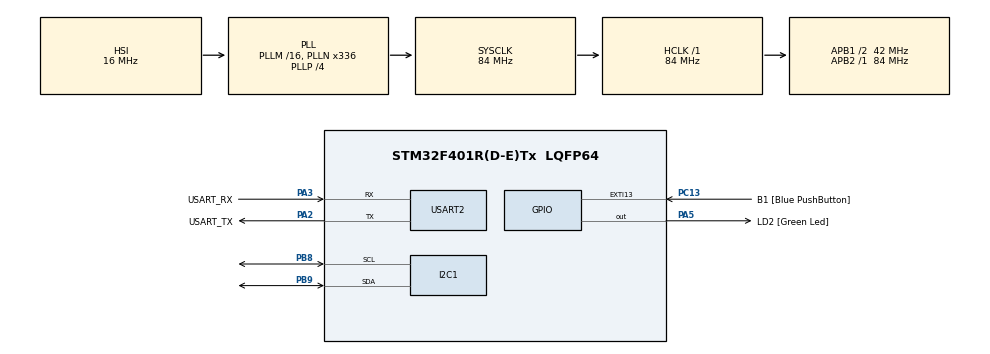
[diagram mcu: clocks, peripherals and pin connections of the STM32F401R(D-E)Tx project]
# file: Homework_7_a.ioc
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Dma.I2C1_RX.1.Direction=DMA_PERIPH_TO_MEMORY
Dma.I2C1_RX.1.FIFOMode=DMA_FIFOMODE_DISABLE
Dma.I2C1_RX.1.Instance=DMA1_Stream0
Dma.I2C1_RX.1.MemDataAlignment=DMA_MDATAALIGN_BYTE
Dma.I2C1_RX.1.MemInc=DMA_MINC_ENABLE
Dma.I2C1_RX.1.Mode=DMA_NORMAL
Dma.I2C1_RX.1.PeriphDataAlignment=DMA_PDATAALIGN_BYTE
Dma.I2C1_RX.1.PeriphInc=DMA_PINC_DISABLE
Dma.I2C1_RX.1.Priority=DMA_PRIORITY_LOW
Dma.Request0=USART2_TX
Dma.Request1=I2C1_RX
Dma.USART2_TX.0.Direction=DMA_MEMORY_TO_PERIPH
Dma.USART2_TX.0.FIFOMode=DMA_FIFOMODE_DISABLE
Dma.USART2_TX.0.Instance=DMA1_Stream6
Dma.USART2_TX.0.MemDataAlignment=DMA_MDATAALIGN_BYTE
Dma.USART2_TX.0.MemInc=DMA_MINC_ENABLE
Dma.USART2_TX.0.Mode=DMA_NORMAL
Dma.USART2_TX.0.PeriphDataAlignment=DMA_PDATAALIGN_BYTE
Dma.USART2_TX.0.PeriphInc=DMA_PINC_DISABLE
Dma.USART2_TX.0.Priority=DMA_PRIORITY_HIGH
Mcu.Family=STM32F4
Mcu.Name=STM32F401R(D-E)Tx
Mcu.Package=LQFP64
NVIC.DMA1_Stream0_IRQn=true\:0\:0\:false\:false\:true\:false\:true\:true
NVIC.DMA1_Stream6_IRQn=true\:0\:0\:false\:false\:true\:false\:true\:true
NVIC.I2C1_EV_IRQn=true\:0\:0\:false\:false\:true\:true\:true\:true
NVIC.PriorityGroup=NVIC_PRIORITYGROUP_0
NVIC.TIM2_IRQn=true\:0\:0\:false\:false\:true\:true\:true\:true
NVIC.USART2_IRQn=true\:0\:0\:false\:false\:true\:true\:true\:true
PA13.GPIO_Label=TMS
PA13.Mode=Serial_Wire
PA13.Signal=SYS_JTMS-SWDIO
PA14.GPIO_Label=TCK
PA14.Mode=Serial_Wire
PA14.Signal=SYS_JTCK-SWCLK
PA2.GPIO_Label=USART_TX
PA2.GPIO_Mode=GPIO_MODE_AF_PP
PA2.GPIO_PuPd=GPIO_NOPULL
PA2.GPIO_Speed=GPIO_SPEED_FREQ_LOW
PA2.Mode=Asynchronous
PA2.Signal=USART2_TX
PA3.GPIO_Label=USART_RX
PA3.GPIO_Mode=GPIO_MODE_AF_PP
PA3.GPIO_PuPd=GPIO_NOPULL
PA3.GPIO_Speed=GPIO_SPEED_FREQ_LOW
PA3.Mode=Asynchronous
PA3.Signal=USART2_RX
PA5.GPIO_Label=LD2 [Green Led]
PA5.GPIO_Mode=GPIO_MODE_OUTPUT_PP
PA5.GPIO_PuPd=GPIO_NOPULL
PA5.GPIO_Speed=GPIO_SPEED_FREQ_LOW
PA5.Signal=GPIO_Output
PB3.GPIO_Label=SWO
PB3.Signal=SYS_JTDO-SWO
PB8.Mode=I2C
PB8.Signal=I2C1_SCL
PB9.Mode=I2C
PB9.Signal=I2C1_SDA
PC13-ANTI_TAMP.GPIO_Label=B1 [Blue PushButton]
PC13-ANTI_TAMP.GPIO_ModeDefaultEXTI=GPIO_MODE_IT_FALLING
PC13-ANTI_TAMP.GPIO_PuPd=GPIO_NOPULL
PC13-ANTI_TAMP.Signal=GPXTI13
PC14-OSC32_IN.Mode=LSE-External-Oscillator
PC14-OSC32_IN.Signal=RCC_OSC32_IN
PC15-OSC32_OUT.Mode=LSE-External-Oscillator
PC15-OSC32_OUT.Signal=RCC_OSC32_OUT
PH0\ -\ OSC_IN.Mode=HSE-External-Clock-Source
PH0\ -\ OSC_IN.Signal=RCC_OSC_IN
PH1\ -\ OSC_OUT.Mode=HSE-External-Clock-Source
PH1\ -\ OSC_OUT.Signal=RCC_OSC_OUT
ProjectManager.HeapSize=0x200
ProjectManager.StackSize=0x400
ProjectManager.TargetToolchain=STM32CubeIDE
RCC.48MHZClocksFreq_Value=48000000
RCC.AHBFreq_Value=84000000
RCC.APB1CLKDivider=RCC_HCLK_DIV2
RCC.APB1Freq_Value=42000000
RCC.APB1TimFreq_Value=84000000
RCC.APB2Freq_Value=84000000
RCC.APB2TimFreq_Value=84000000
RCC.CortexFreq_Value=84000000
RCC.HCLKFreq_Value=84000000
RCC.HSE_VALUE=8000000
RCC.HSI_VALUE=16000000
RCC.PLLN=336
RCC.PLLP=RCC_PLLP_DIV4
RCC.PLLQ=7
RCC.SYSCLKFreq_VALUE=84000000
RCC.SYSCLKSource=RCC_SYSCLKSOURCE_PLLCLK
RCC.VCOOutputFreq_Value=336000000
TIM2.Period=10000-1
TIM2.Prescaler=8400-1
USART2.VirtualMode=VM_ASYNC
VP_TIM2_VS_ClockSourceINT.Mode=Internal
board=NUCLEO-F401RE

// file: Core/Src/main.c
/* USER CODE BEGIN Header */
/**
  ******************************************************************************
  * @file           : main.c
  * @brief          : Main program body
  ******************************************************************************
  * @attention
  *
  * Copyright (c) 2024 STMicroelectronics.
  * All rights reserved.
  *
  * This software is licensed under terms that can be found in the LICENSE file
  * in the root directory of this software component.
  * If no LICENSE file comes with this software, it is provided AS-IS.
  *
  ******************************************************************************
  */
/* USER CODE END Header */
#include "main.h"

/* USER CODE BEGIN Includes */
#include <stdio.h>
#include "string.h"

/* USER CODE END Includes */

/* USER CODE BEGIN PD */
#define GREEN_LED_PIN GPIOA, GPIO_PIN_5 // debug LED

/* USER CODE END PD */

I2C_HandleTypeDef hi2c1;
DMA_HandleTypeDef hdma_i2c1_rx;

TIM_HandleTypeDef htim2;

UART_HandleTypeDef huart2;
DMA_HandleTypeDef hdma_usart2_tx;

/* USER CODE BEGIN PV */

/* ----------- ADRESSES -----------	*/
/* << operator shifts adds 1 0 to the right side of the bits:
 * 0b01 << 1 = 0b010                */
uint8_t LM75_DevAdress_Read   =  0b1001000 << 1; 	    // 0b is added in front to make clear that it is a binary number
uint8_t LM75_DevAdress_Write  = (0b1001000 << 1) + 1; 	// 0b is added in front to make clear that it is a binary number

// Internal Register where data is stored
uint8_t LM75_TempAdress  = 0x00;       	      			// 0x is used bcs it is a hexadecimal value

// Data buffer for temperature
uint8_t tempBuffer[6];   // the temp register contains two times 8 bytes (MSB and LSB) [VERY IMPORTANT]
int16_t temp;            // the final temperature value is 16 bit

/* USER CODE END PV */

void SystemClock_Config(void);
static void MX_GPIO_Init(void);
static void MX_DMA_Init(void);
static void MX_USART2_UART_Init(void);
static void MX_I2C1_Init(void);
static void MX_TIM2_Init(void);

/* USER CODE BEGIN 0 */

/** Sign bit verification **/
/** If 16th bit is equal to 1 = Negative value **/

float GetTemp(uint8_t tempBuffer1, uint8_t tempBuffer2)
{
	// concat MSB and LSB
	uint16_t temp = (tempBuffer1 << 8 | tempBuffer2);

	// check if negative
	if (temp & 0x8000)
	{
		// reverse the bits (negation)
		temp |= 0x0000;
	}

	// convert to temp
	float temperature = temp / 256.0;

	return temperature;

}

/* DMA Callback after receiving */
void HAL_I2C_MemRxCpltCallback(I2C_HandleTypeDef *hi2c)
{
	if (hi2c == &hi2c1)
	{
		// Toggle debug LED
		HAL_GPIO_TogglePin(GREEN_LED_PIN);

		static int bufferStatus = 0;

		if (bufferStatus == 2)
		{
			// 1. Concatenate non corrupted data
			if (tempBuffer[0] == tempBuffer[2] && tempBuffer[1] == tempBuffer[3])
			{
				// 2. convert to temperature
				float temperature = GetTemp(tempBuffer[0], tempBuffer[1]);

				char str[64];
				snprintf(str, sizeof(str), "Temperature: %.3f°C\r\n", temperature);

				// transmit to terminal by DMA
				HAL_UART_Transmit_DMA(&huart2, (uint8_t*)str, strlen(str));

				bufferStatus = 0;

			}

			else
			{

				float temperature = GetTemp(tempBuffer[4], tempBuffer[5]);

				char str[64];
				snprintf(str, sizeof(str), "Temperature: %.3f°C\r\n", temperature);

				// transmit to terminal by DMA
				HAL_UART_Transmit_DMA(&huart2, (uint8_t*)str, strlen(str));
			}

		}

		else
		{
			bufferStatus++;
			int idx = bufferStatus * 2;
			HAL_I2C_Mem_Read_DMA(
							&hi2c1,                 // Target device adr
							LM75_DevAdress_Read,    // Device ADR
							LM75_TempAdress,        // Internal ADR (TEMP regisster of LM75B)
							1,		                // Size of mem adr of internal register (in bytes)
							&tempBuffer[idx],         	// buffer to store the value
							2						// Amount of data to be read: here 2 bytes (MSB + LSB)
							);
		}
	}
}

/* TIMER CALLBACK */
void HAL_TIM_PeriodElapsedCallback(TIM_HandleTypeDef *htim)
{
	if (htim == &htim2)
	{
		// Reads an amount of data in non-blocking mode with DMA from a specific memory address.
		HAL_I2C_Mem_Read_DMA(
				&hi2c1,                 // Target device adr
				LM75_DevAdress_Read,    // Device ADR
				LM75_TempAdress,        // Internal ADR (TEMP regisster of LM75B)
				1,		                // Size of mem adr of internal register (in bytes)
				tempBuffer,         	// buffer to store the value
				2						// Amount of data to be read: here 2 bytes (MSB + LSB)
				);
	}
}

/* USER CODE END 0 */

int main(void)
{

  /* MCU Configuration--------------------------------------------------------*/

  /* Reset of all peripherals, Initializes the Flash interface and the Systick. */
  HAL_Init();

  /* Configure the system clock */
  SystemClock_Config();

  /* Initialize all configured peripherals */
  MX_GPIO_Init();
  MX_DMA_Init();
  MX_USART2_UART_Init();
  MX_I2C1_Init();
  MX_TIM2_Init();
  /* USER CODE BEGIN 2 */

  // initiate the communication
  HAL_I2C_Master_Transmit(&hi2c1, LM75_DevAdress_Read, &LM75_TempAdress, 1, 100); // 1 byte and 100 ms timeout

  // Start the TIM in IT mode
  HAL_TIM_Base_Start_IT(&htim2);

  /* USER CODE END 2 */

  /* Infinite loop */
  while (1)
  {

  }
}

void SystemClock_Config(void)
{
  RCC_OscInitTypeDef RCC_OscInitStruct = {0};
  RCC_ClkInitTypeDef RCC_ClkInitStruct = {0};

  /** Configure the main internal regulator output voltage
  */
  __HAL_RCC_PWR_CLK_ENABLE();
  __HAL_PWR_VOLTAGESCALING_CONFIG(PWR_REGULATOR_VOLTAGE_SCALE2);

  /** Initializes the RCC Oscillators according to the specified parameters
  * in the RCC_OscInitTypeDef structure.
  */
  RCC_OscInitStruct.OscillatorType = RCC_OSCILLATORTYPE_HSI;
  RCC_OscInitStruct.HSIState = RCC_HSI_ON;
  RCC_OscInitStruct.HSICalibrationValue = RCC_HSICALIBRATION_DEFAULT;
  RCC_OscInitStruct.PLL.PLLState = RCC_PLL_ON;
  RCC_OscInitStruct.PLL.PLLSource = RCC_PLLSOURCE_HSI;
  RCC_OscInitStruct.PLL.PLLM = 16;
  RCC_OscInitStruct.PLL.PLLN = 336;
  RCC_OscInitStruct.PLL.PLLP = RCC_PLLP_DIV4;
  RCC_OscInitStruct.PLL.PLLQ = 7;
  if (HAL_RCC_OscConfig(&RCC_OscInitStruct) != HAL_OK)
  {
    Error_Handler();
  }

  /** Initializes the CPU, AHB and APB buses clocks
  */
  RCC_ClkInitStruct.ClockType = RCC_CLOCKTYPE_HCLK|RCC_CLOCKTYPE_SYSCLK
                              |RCC_CLOCKTYPE_PCLK1|RCC_CLOCKTYPE_PCLK2;
  RCC_ClkInitStruct.SYSCLKSource = RCC_SYSCLKSOURCE_PLLCLK;
  RCC_ClkInitStruct.AHBCLKDivider = RCC_SYSCLK_DIV1;
  RCC_ClkInitStruct.APB1CLKDivider = RCC_HCLK_DIV2;
  RCC_ClkInitStruct.APB2CLKDivider = RCC_HCLK_DIV1;

  if (HAL_RCC_ClockConfig(&RCC_ClkInitStruct, FLASH_LATENCY_2) != HAL_OK)
  {
    Error_Handler();
  }
}

static void MX_I2C1_Init(void)
{

  hi2c1.Instance = I2C1;
  hi2c1.Init.ClockSpeed = 100000;
  hi2c1.Init.DutyCycle = I2C_DUTYCYCLE_2;
  hi2c1.Init.OwnAddress1 = 0;
  hi2c1.Init.AddressingMode = I2C_ADDRESSINGMODE_7BIT;
  hi2c1.Init.DualAddressMode = I2C_DUALADDRESS_DISABLE;
  hi2c1.Init.OwnAddress2 = 0;
  hi2c1.Init.GeneralCallMode = I2C_GENERALCALL_DISABLE;
  hi2c1.Init.NoStretchMode = I2C_NOSTRETCH_DISABLE;
  if (HAL_I2C_Init(&hi2c1) != HAL_OK)
  {
    Error_Handler();
  }

}

static void MX_TIM2_Init(void)
{

  TIM_ClockConfigTypeDef sClockSourceConfig = {0};
  TIM_MasterConfigTypeDef sMasterConfig = {0};

  htim2.Instance = TIM2;
  htim2.Init.Prescaler = 8400-1;
  htim2.Init.CounterMode = TIM_COUNTERMODE_UP;
  htim2.Init.Period = 10000-1;
  htim2.Init.ClockDivision = TIM_CLOCKDIVISION_DIV1;
  htim2.Init.AutoReloadPreload = TIM_AUTORELOAD_PRELOAD_DISABLE;
  if (HAL_TIM_Base_Init(&htim2) != HAL_OK)
  {
    Error_Handler();
  }
  sClockSourceConfig.ClockSource = TIM_CLOCKSOURCE_INTERNAL;
  if (HAL_TIM_ConfigClockSource(&htim2, &sClockSourceConfig) != HAL_OK)
  {
    Error_Handler();
  }
  sMasterConfig.MasterOutputTrigger = TIM_TRGO_RESET;
  sMasterConfig.MasterSlaveMode = TIM_MASTERSLAVEMODE_DISABLE;
  if (HAL_TIMEx_MasterConfigSynchronization(&htim2, &sMasterConfig) != HAL_OK)
  {
    Error_Handler();
  }

}

static void MX_USART2_UART_Init(void)
{

  huart2.Instance = USART2;
  huart2.Init.BaudRate = 115200;
  huart2.Init.WordLength = UART_WORDLENGTH_8B;
  huart2.Init.StopBits = UART_STOPBITS_1;
  huart2.Init.Parity = UART_PARITY_NONE;
  huart2.Init.Mode = UART_MODE_TX_RX;
  huart2.Init.HwFlowCtl = UART_HWCONTROL_NONE;
  huart2.Init.OverSampling = UART_OVERSAMPLING_16;
  if (HAL_UART_Init(&huart2) != HAL_OK)
  {
    Error_Handler();
  }

}

static void MX_DMA_Init(void)
{

  /* DMA controller clock enable */
  __HAL_RCC_DMA1_CLK_ENABLE();

  /* DMA interrupt init */
  /* DMA1_Stream0_IRQn interrupt configuration */
  HAL_NVIC_SetPriority(DMA1_Stream0_IRQn, 0, 0);
  HAL_NVIC_EnableIRQ(DMA1_Stream0_IRQn);
  /* DMA1_Stream6_IRQn interrupt configuration */
  HAL_NVIC_SetPriority(DMA1_Stream6_IRQn, 0, 0);
  HAL_NVIC_EnableIRQ(DMA1_Stream6_IRQn);

}

static void MX_GPIO_Init(void)
{
  GPIO_InitTypeDef GPIO_InitStruct = {0};

  /* GPIO Ports Clock Enable */
  __HAL_RCC_GPIOC_CLK_ENABLE();
  __HAL_RCC_GPIOH_CLK_ENABLE();
  __HAL_RCC_GPIOA_CLK_ENABLE();
  __HAL_RCC_GPIOB_CLK_ENABLE();

  /*Configure GPIO pin Output Level */
  HAL_GPIO_WritePin(LD2_GPIO_Port, LD2_Pin, GPIO_PIN_RESET);

  /*Configure GPIO pin : B1_Pin */
  GPIO_InitStruct.Pin = B1_Pin;
  GPIO_InitStruct.Mode = GPIO_MODE_IT_FALLING;
  GPIO_InitStruct.Pull = GPIO_NOPULL;
  HAL_GPIO_Init(B1_GPIO_Port, &GPIO_InitStruct);

  /*Configure GPIO pin : LD2_Pin */
  GPIO_InitStruct.Pin = LD2_Pin;
  GPIO_InitStruct.Mode = GPIO_MODE_OUTPUT_PP;
  GPIO_InitStruct.Pull = GPIO_NOPULL;
  GPIO_InitStruct.Speed = GPIO_SPEED_FREQ_LOW;
  HAL_GPIO_Init(LD2_GPIO_Port, &GPIO_InitStruct);

}

void Error_Handler(void)
{
  __disable_irq();
  while (1)
  {
  }
}
